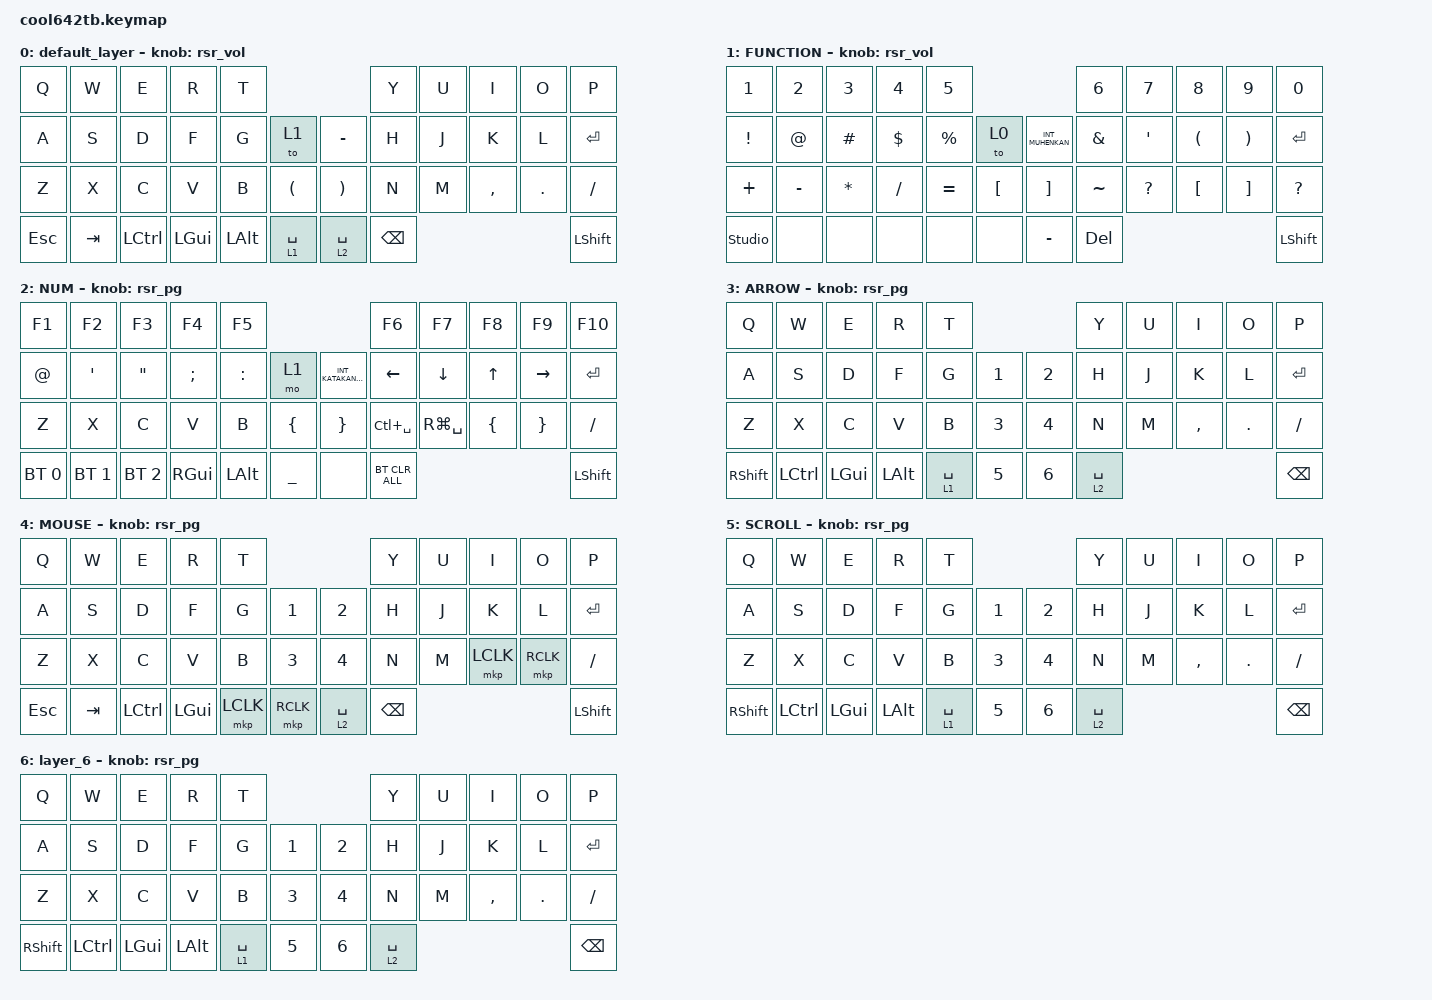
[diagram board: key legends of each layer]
#include <input/processors.dtsi>                       // zip_xy_* 縺ｪ縺ｩ input processor 繧剃ｽｿ縺・ｴ蜷・
#include <input/processors/runtime-input-processor.dtsi> // runtime-input-processor 繧剃ｽｿ縺・ｴ蜷・
#include <behaviors/runtime-sensor-rotate.dtsi>        // runtime-sensor-rotate 繧剃ｽｿ縺・ｴ蜷・
#include <behaviors/battery_history_request.dtsi> // battery history request behavior 繧・keymap 縺ｫ鄂ｮ縺丞ｴ蜷・
#include <behaviors.dtsi>
#include <dt-bindings/zmk/bt.h>
#include <dt-bindings/zmk/keys.h>
#include <dt-bindings/zmk/pointing.h>

#define LAYER_MOUSE 4
#define LAYER_SCROLL 5
#define LAYER_NUM 6

&mt {
    flavor = "balanced";
    quick-tap-ms = <0>;
};

/ {
    combos {
        compatible = "zmk,combos";

        comb1 {
            bindings = <&kp TAB>;
            key-positions = <11 10>;
        };

        comb2 {
            bindings = <&kp LS(ESCAPE)>;
            key-positions = <0 1>;
        };

        comb3 {
            bindings = <&kp CAPSLOCK>;
            key-positions = <22 23>;
        };

        comb4 {
            bindings = <&kp BACKSPACE>;
            key-positions = <9 8>;
        };

        comb5 {
            bindings = <&bt BT_CLR_ALL>;
            key-positions = <9 8>;
            timeout-ms = <0>;
            layers = <2>;
        };

        MS_BTN1_ {
            bindings = <&mkp LCLK>;
            key-positions = <38 39>;
        };

        MS_BTN2_ {
            bindings = <&mkp RCLK>;
            key-positions = <38 37>;
        };
    };

    macros {
        to_layer_0: to_layer_0 {
            compatible = "zmk,behavior-macro-one-param";
            #binding-cells = <1>;
            bindings = <&to 0 &macro_param_1to1 &kp MACRO_PLACEHOLDER>;
            label = "TO_LAYER_0";
        };
    };

    behaviors {
        lt_to_layer_0: lt_to_layer_0 {
            compatible = "zmk,behavior-hold-tap";
            label = "LAYER_TAP_TO_0";
            bindings = <&mo>, <&to_layer_0>;

            #binding-cells = <2>;
            tapping-term-ms = <200>;
        };

        scroll_up_down: behavior_sensor_rotate_mouse_wheel_up_down {
            compatible = "zmk,behavior-sensor-rotate";
            #sensor-binding-cells = <0>;
            bindings = <&msc SCRL_UP>, <&msc SCRL_DOWN>;

            tap-ms = <20>;
        };

        // 繧ｨ繝ｳ繧ｳ繝ｼ繝繝ｼ・壹・繧ｦ繧ｹ繧ｹ繧ｯ繝ｭ繝ｼ繝ｫ

        rot_msc: sensor_rotate_msc {
            compatible = "zmk,behavior-sensor-rotate-var";
            #sensor-binding-cells = <2>;
            tap-ms = <20>;
            bindings = <&msc>, <&msc>;
        };

        // 繧ｨ繝ｳ繧ｳ繝ｼ繝繝ｼ・壹・繧ｦ繧ｹ繧ｹ繧ｯ繝ｭ繝ｼ繝ｫ(MOVE_Y)

        scroll_move_y: sensor_rotate_msc_for_move_y {
            compatible = "zmk,behavior-sensor-rotate";
            #sensor-binding-cells = <0>;
            bindings = <&msc MOVE_Y(20)>, <&msc MOVE_Y(-20)>;

            // tap-ms荳矩剞繝｡繝｢ Y縺ｮ蛟､縺ｧ蜿ｯ螟・ Y(15) <81>, Y(20) <65>, Y(25) <49>

            tap-ms = <65>;
        };

        // 繧ｨ繝ｳ繧ｳ繝ｼ繝繝ｼ・壹・繧ｦ繧ｹ繧ｹ繧ｯ繝ｭ繝ｼ繝ｫ(MOVE_X)

        scroll_move_x: sensor_rotate_msc_for_move_x {
            compatible = "zmk,behavior-sensor-rotate";
            #sensor-binding-cells = <0>;
            bindings = <&msc MOVE_X(20)>, <&msc MOVE_X(-20)>;

            // tap-ms荳矩剞繝｡繝｢ X縺ｮ蛟､縺ｧ蜿ｯ螟・ X(15) <81>, X(20) <65>, X(25) <49>

            tap-ms = <65>;
        };

        rsr_vol: rsr_vol {
            compatible = "zmk,behavior-runtime-sensor-rotate";
            #sensor-binding-cells = <0>;
            tap-ms = <20>;
            cw-binding = <&kp C_VOL_DN>;
            ccw-binding = <&kp C_VOL_UP>;
        };

        rsr_pg: rsr_pg {
            compatible = "zmk,behavior-runtime-sensor-rotate";
            #sensor-binding-cells = <0>;
            tap-ms = <20>;
            cw-binding = <&kp PG_UP>;
            ccw-binding = <&kp PAGE_DOWN>;
        };
    };

    keymap {
        compatible = "zmk,keymap";

        default_layer {
            bindings = <
&kp Q       &kp W    &kp E             &kp R         &kp T                                                      &kp Y          &kp U  &kp I      &kp O       &kp P
&kp A       &kp S    &kp D             &kp F         &kp G         &to 1                 &kp MINUS              &kp H          &kp J  &kp K      &kp L       &kp ENTER
&kp Z       &kp X    &kp C             &kp V         &kp B         &kp LEFT_PARENTHESIS  &kp RIGHT_PARENTHESIS  &kp N          &kp M  &kp COMMA  &kp PERIOD  &kp SLASH
&kp ESCAPE  &kp TAB  &kp LEFT_CONTROL  &kp LEFT_GUI  &kp LEFT_ALT  &lt 1 SPACE           &lt 2 SPACE            &kp BACKSPACE                                &kp LEFT_SHIFT
            >;

            sensor-bindings = <&rsr_vol>;
        };

        FUNCTION {
            bindings = <
&kp N1           &kp N2       &kp N3        &kp N4      &kp N5                                            &kp N6         &kp N7        &kp N8                &kp N9                 &kp N0
&kp EXCLAMATION  &kp AT_SIGN  &kp HASH      &kp DOLLAR  &kp PERCENT  &to 0             &kp INT_MUHENKAN   &kp AMPERSAND  &kp SQT       &kp LEFT_PARENTHESIS  &kp RIGHT_PARENTHESIS  &kp ENTER
&kp PLUS         &kp MINUS    &kp ASTERISK  &kp SLASH   &kp EQUAL    &kp LEFT_BRACKET  &kp RIGHT_BRACKET  &kp TILDE      &kp QUESTION  &kp LEFT_BRACKET      &kp RIGHT_BRACKET      &kp QUESTION
&studio_unlock   &none        &none         &none       &none        &none             &kp MINUS          &kp DEL                                                                   &kp LEFT_SHIFT
            >;

            sensor-bindings = <&rsr_vol>;
        };

        NUM {
            bindings = <
&kp F1        &kp F2        &kp F3             &kp F4         &kp F5                                                  &kp F6          &kp F7          &kp F8          &kp F9           &kp F10
&kp AT_SIGN   &kp SQT       &kp DOUBLE_QUOTES  &kp SEMICOLON  &kp COLON     &mo 1           &kp INT_KATAKANAHIRAGANA  &kp LEFT        &kp DOWN_ARROW  &kp UP_ARROW    &kp RIGHT        &kp ENTER
&kp Z         &kp X         &kp C              &kp V          &kp B         &kp LEFT_BRACE  &kp RIGHT_BRACE           &kp LC(SPACE)   &kp RG(SPACE)   &kp LEFT_BRACE  &kp RIGHT_BRACE  &kp SLASH
&bt BT_SEL 0  &bt BT_SEL 1  &bt BT_SEL 2       &kp RGUI       &kp LEFT_ALT  &kp UNDERSCORE  &none                     &bt BT_CLR_ALL                                                   &kp LEFT_SHIFT
            >;

            sensor-bindings = <&rsr_pg>;
        };

        ARROW {
            bindings = <
&kp Q       &kp W      &kp E     &kp R     &kp T                        &kp Y        &kp U  &kp I      &kp O       &kp P
&kp A       &kp S      &kp D     &kp F     &kp G        &kp N1  &kp N2  &kp H        &kp J  &kp K      &kp L       &kp ENTER
&kp Z       &kp X      &kp C     &kp V     &kp B        &kp N3  &kp N4  &kp N        &kp M  &kp COMMA  &kp PERIOD  &kp SLASH
&kp RSHIFT  &kp LCTRL  &kp LGUI  &kp LALT  &lt 1 SPACE  &kp N5  &kp N6  &lt 2 SPACE                                &kp BSPC
            >;

            sensor-bindings = <&rsr_pg>;
        };

        MOUSE {
            bindings = <
&kp Q       &kp W    &kp E             &kp R         &kp T                              &kp Y          &kp U  &kp I      &kp O      &kp P
&kp A       &kp S    &kp D             &kp F         &kp G      &kp N1     &kp N2       &kp H          &kp J  &kp K      &kp L      &kp ENTER
&kp Z       &kp X    &kp C             &kp V         &kp B      &kp N3     &kp N4       &kp N          &kp M  &mkp LCLK  &mkp RCLK  &kp SLASH
&kp ESCAPE  &kp TAB  &kp LEFT_CONTROL  &kp LEFT_GUI  &mkp LCLK  &mkp RCLK  &lt 2 SPACE  &kp BACKSPACE                               &kp LEFT_SHIFT
            >;

            sensor-bindings = <&rsr_pg>;
        };

        SCROLL {
            bindings = <
&kp Q       &kp W      &kp E     &kp R     &kp T                        &kp Y        &kp U  &kp I      &kp O       &kp P
&kp A       &kp S      &kp D     &kp F     &kp G        &kp N1  &kp N2  &kp H        &kp J  &kp K      &kp L       &kp ENTER
&kp Z       &kp X      &kp C     &kp V     &kp B        &kp N3  &kp N4  &kp N        &kp M  &kp COMMA  &kp PERIOD  &kp SLASH
&kp RSHIFT  &kp LCTRL  &kp LGUI  &kp LALT  &lt 1 SPACE  &kp N5  &kp N6  &lt 2 SPACE                                &kp BSPC
            >;

            sensor-bindings = <&rsr_pg>;
        };

        layer_6 {
            bindings = <
&kp Q       &kp W      &kp E     &kp R     &kp T                        &kp Y        &kp U  &kp I      &kp O       &kp P
&kp A       &kp S      &kp D     &kp F     &kp G        &kp N1  &kp N2  &kp H        &kp J  &kp K      &kp L       &kp ENTER
&kp Z       &kp X      &kp C     &kp V     &kp B        &kp N3  &kp N4  &kp N        &kp M  &kp COMMA  &kp PERIOD  &kp SLASH
&kp RSHIFT  &kp LCTRL  &kp LGUI  &kp LALT  &lt 1 SPACE  &kp N5  &kp N6  &lt 2 SPACE                                &kp BSPC
            >;

            sensor-bindings = <&rsr_pg>;
        };
    };
};
